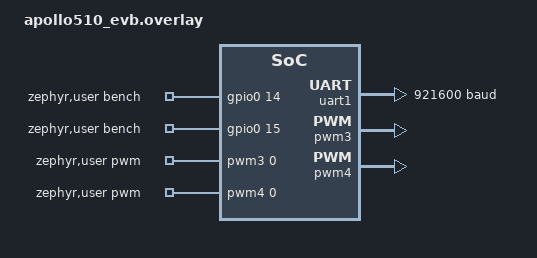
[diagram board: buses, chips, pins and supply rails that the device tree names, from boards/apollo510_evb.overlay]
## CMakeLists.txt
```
# SPDX-License-Identifier: Apache-2.0
cmake_minimum_required(VERSION 3.20.0)
find_package(Zephyr REQUIRED HINTS $ENV{ZEPHYR_BASE})
project(bench_e2e_cmd_vel)

target_sources(app PRIVATE
  src/main.c
  ../common/bench_clock.c
  ../common/bench_stats.c
)
target_sources_ifdef(CONFIG_BENCH_LOAD app PRIVATE ../common/bench_load.c)
target_include_directories(app PRIVATE ../common)
```

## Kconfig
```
# SPDX-License-Identifier: Apache-2.0
mainmenu "ARB benchmark: end-to-end cmd_vel latency"

config BENCH_SAMPLES
	int "Number of samples"
	default 100000

config BENCH_LOAD
	bool "Run with background load (zbus traffic + logging)"
	depends on ZBUS && LOG

config ARB_BENCH_E2E_ECHO
	bool "Host echo RTT mode (instead of the on-board path)"
	depends on SERIAL && UART_INTERRUPT_DRIVEN
	help
	  Send framed cmd_vel over the chosen arb,uart and measure the
	  round trip against benchmarks/scripts/e2e_echo.py running on the
	  host. Needs the hardware link; CI skips it via a twister fixture.

source "Kconfig.zephyr"
```

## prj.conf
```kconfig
# The ARB-coupled benchmark: measures the module's own command path.
CONFIG_ARB=y
CONFIG_TEST=y
CONFIG_TIMESLICING=n
```

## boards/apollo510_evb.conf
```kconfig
CONFIG_TIMING_FUNCTIONS=y
CONFIG_PWM=y
CONFIG_PM=n
CONFIG_PM_DEVICE=n
CONFIG_PM_DEVICE_RUNTIME=n
CONFIG_HW_STACK_PROTECTION=n
```

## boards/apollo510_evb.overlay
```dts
/*
 * Mirrors the diff_drive sample wiring: PWM on TIMER3/TIMER4 (CT12/CT18),
 * the echo link on UART1, and two spare pins for scope cross-checks of
 * the measured interval (publish edge on P14, actuation edge on P15 -
 * verify they are free on your rig).
 *
 * SPDX-License-Identifier: Apache-2.0
 * Copyright (c) 2026 Ambiq Micro Inc. <www.ambiq.com>
 */

#include <zephyr/dt-bindings/pwm/pwm.h>

/ {
	chosen {
		arb,uart = &uart1;
	};

	zephyr,user {
		pwms = <&pwm3 0 PWM_HZ(20000) PWM_POLARITY_NORMAL>,
		       <&pwm4 0 PWM_HZ(20000) PWM_POLARITY_NORMAL>;
		bench-gpios = <&gpio0 14 GPIO_ACTIVE_HIGH>,
			      <&gpio0 15 GPIO_ACTIVE_HIGH>;
	};
};

&uart1 {
	status = "okay";
	current-speed = <921600>;
	pinctrl-0 = <&uart1_default>;
	pinctrl-names = "default";
};

&timer3 {
	pwm3: pwm {
		status = "okay";
		pinctrl-0 = <&pwm3_default>;
		pinctrl-names = "default";
	};
};

&timer4 {
	pwm4: pwm {
		status = "okay";
		pinctrl-0 = <&pwm4_default>;
		pinctrl-names = "default";
	};
};

&pinctrl {
	uart1_default: uart1_default {
		group1 {
			pinmux = <UART1TX_P41>;
		};
		group2 {
			pinmux = <UART1RX_P43>;
			input-enable;
		};
	};

	pwm3_default: pwm3_default {
		group1 {
			pinmux = <CT12_P12>;
		};
	};

	pwm4_default: pwm4_default {
		group1 {
			pinmux = <CT18_P18>;
		};
	};
};
```

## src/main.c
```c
/*
 * End-to-end cmd_vel latency benchmark (Robotics WG D3). ARB-dependent by
 * design - this one measures the ARB path itself.
 *
 * Mode A (default): on-board closed-loop command path,
 *
 *   zbus_chan_pub(arb_chan_cmd_vel) -> listener -> twist_to_wheels ->
 *   pwm_set_pulse_dt()
 *
 * zbus listeners run synchronously in the publisher's context, so the
 * cycle delta needs no handshake: c1 is captured right after the PWM
 * write, c0 right before the publish. When zephyr,user has bench-gpios,
 * the publish and the actuation each toggle a pin so the same interval
 * can be cross-checked with a scope.
 *
 * Mode B (CONFIG_ARB_BENCH_E2E_ECHO): host round trip over the frozen
 * framing. Drives the chosen arb,uart directly with the OS-free codec -
 * not through the transport, whose export path would re-publish the
 * byte-true echo and self-loop. Run benchmarks/scripts/e2e_echo.py on the
 * host; reported metric is RTT (halve for one-way until link timesync is
 * validated on hardware).
 *
 * SPDX-License-Identifier: Apache-2.0
 * Copyright (c) 2026 Ambiq Micro Inc. <www.ambiq.com>
 */
#include <zephyr/kernel.h>
#include <zephyr/sys/printk.h>
#include <zephyr/zbus/zbus.h>

#include "arb/control/diff_drive.h"
#include "arb/msg.h"
#include "arb/time.h"
#include "arb/topics.h"

#include "bench.h"

#define ZUSER DT_PATH(zephyr_user)

/* ---- actuation path (Mode A) --------------------------------------------- */

#if DT_NODE_HAS_PROP(ZUSER, pwms)
#include <zephyr/drivers/pwm.h>
#define HAVE_PWM 1
static const struct pwm_dt_spec motor_pwm[2] = {
	PWM_DT_SPEC_GET_BY_IDX(ZUSER, 0),
	PWM_DT_SPEC_GET_BY_IDX(ZUSER, 1),
};
#else
/* keep the data path honest on boards without the motor wiring */
static volatile uint32_t pwm_sink;
#endif

#if DT_NODE_HAS_PROP(ZUSER, bench_gpios)
#include <zephyr/drivers/gpio.h>
#define HAVE_BENCH_GPIO 1
static const struct gpio_dt_spec bench_gpio[2] = {
	GPIO_DT_SPEC_GET_BY_IDX(ZUSER, bench_gpios, 0),
	GPIO_DT_SPEC_GET_BY_IDX(ZUSER, bench_gpios, 1),
};
#endif

static const arb_diffdrive_t geom = {
	.wheel_base = 0.30f,
	.wheel_radius = 0.04f,
};

static volatile uint64_t c_actuated;

static void cmd_vel_cb(const struct zbus_channel *chan)
{
	const arb_twist_t *t = zbus_chan_const_msg(chan);
	float wl, wr;

	arb_diffdrive_twist_to_wheels(&geom, t->linear.x, t->angular.z,
				      &wl, &wr);
#ifdef HAVE_PWM
	uint32_t pulse =
		(uint32_t)(MIN(1.0f, (wl < 0 ? -wl : wl) / 25.0f) *
			   (float)motor_pwm[0].period);
	(void)pwm_set_pulse_dt(&motor_pwm[0], pulse);
#else
	pwm_sink = (uint32_t)(wl * 1000.0f) + (uint32_t)(wr * 1000.0f);
#endif
#ifdef HAVE_BENCH_GPIO
	gpio_pin_toggle_dt(&bench_gpio[1]);
#endif
	c_actuated = bench_clock_now();
}
ZBUS_LISTENER_DEFINE(bench_cmd_listener, cmd_vel_cb);
ZBUS_CHAN_ADD_OBS(arb_chan_cmd_vel, bench_cmd_listener, 3);

static struct bench_hist hist;

static int run_onboard(void)
{
	arb_twist_t t = { 0 };
	uint32_t seq = 0;

#ifdef HAVE_PWM
	if (!pwm_is_ready_dt(&motor_pwm[0]) || !pwm_is_ready_dt(&motor_pwm[1])) {
		printk("BENCH ERROR: pwm not ready\n");
		return -ENODEV;
	}
#endif
#ifdef HAVE_BENCH_GPIO
	for (int i = 0; i < 2; i++) {
		if (gpio_is_ready_dt(&bench_gpio[i])) {
			gpio_pin_configure_dt(&bench_gpio[i],
					      GPIO_OUTPUT_INACTIVE);
		}
	}
#endif

	bench_hist_reset(&hist);

	for (uint32_t i = 0; i < CONFIG_BENCH_SAMPLES; i++) {
		t.linear.x = ((i & 1) != 0) ? 0.25f : -0.25f;
		t.angular.z = 0.0f;
		arb_header_init(&t.header, ARB_MSG_TWIST, 0,
				arb_time_now_us(), seq++);

#ifdef HAVE_BENCH_GPIO
		gpio_pin_toggle_dt(&bench_gpio[0]);
#endif
		uint64_t c0 = bench_clock_now();

		if (zbus_chan_pub(&arb_chan_cmd_vel, &t, K_MSEC(10)) != 0) {
			continue;
		}
		bench_hist_add(&hist, bench_clock_ns(c_actuated - c0));

		if ((i % 100) == 99) {
			k_sleep(K_MSEC(1)); /* let background load breathe */
		}
	}

	bench_report("e2e_cmd_vel", BENCH_LOAD_NAME, &hist,
		     "\"metric\":\"onboard_cmd_to_pwm_ns\"");
	return 0;
}

/* ---- Mode B: host echo RTT ----------------------------------------------- */

#ifdef CONFIG_ARB_BENCH_E2E_ECHO

#include <zephyr/device.h>
#include <zephyr/drivers/uart.h>
#include <zephyr/sys/ring_buffer.h>

#include "arb/serial.h"

static const struct device *const echo_uart =
	DEVICE_DT_GET(DT_CHOSEN(arb_uart));

static arb_serial_t tx_codec, rx_codec;
RING_BUF_DECLARE(echo_ring, 256);
static K_SEM_DEFINE(echo_rx, 0, 1);
static volatile uint64_t c_echo;
static volatile uint32_t echo_seq;

static int echo_write(void *ctx, const uint8_t *buf, size_t len)
{
	ARG_UNUSED(ctx);
	for (size_t i = 0; i < len; i++) {
		uart_poll_out(echo_uart, buf[i]);
	}
	return 0;
}

static void echo_frame_cb(uint16_t topic, const void *payload, size_t len,
			  void *user)
{
	ARG_UNUSED(user);
	if (topic != ARB_TOPIC_CMD_VEL || len != sizeof(arb_twist_t)) {
		return;
	}
	const arb_twist_t *t = payload;

	c_echo = bench_clock_now();
	echo_seq = t->header.seq;
	k_sem_give(&echo_rx);
}

static void echo_isr(const struct device *dev, void *user_data)
{
	ARG_UNUSED(user_data);
	uint8_t buf[32];

	if (!uart_irq_update(dev)) {
		return;
	}
	while (uart_irq_rx_ready(dev)) {
		int n = uart_fifo_read(dev, buf, sizeof(buf));

		if (n <= 0) {
			break;
		}
		(void)ring_buf_put(&echo_ring, buf, n);
	}
	k_sem_give(&echo_rx);
}

static int run_echo(void)
{
	arb_twist_t t = { 0 };
	uint8_t buf[64];

	if (!device_is_ready(echo_uart)) {
		printk("BENCH ERROR: arb,uart not ready\n");
		return -ENODEV;
	}
	(void)arb_serial_init(&tx_codec, echo_write, NULL, NULL, NULL);
	(void)arb_serial_init(&rx_codec, NULL, NULL, echo_frame_cb, NULL);
	uart_irq_callback_user_data_set(echo_uart, echo_isr, NULL);
	uart_irq_rx_enable(echo_uart);

	bench_hist_reset(&hist);

	for (uint32_t i = 0; i < CONFIG_BENCH_SAMPLES; i++) {
		t.linear.x = 0.25f;
		arb_header_init(&t.header, ARB_MSG_TWIST, 0,
				arb_time_now_us(), i);

		uint64_t c0 = bench_clock_now();

		(void)arb_serial_send(&tx_codec, ARB_TOPIC_CMD_VEL, &t,
				      sizeof(t));

		/* drain + decode until our seq echoes back (100 ms budget) */
		int64_t deadline = k_uptime_get() + 100;
		bool got = false;

		while (k_uptime_get() < deadline) {
			uint32_t n = ring_buf_get(&echo_ring, buf, sizeof(buf));

			if (n > 0) {
				arb_serial_rx(&rx_codec, buf, n);
				if (echo_seq == i && c_echo >= c0) {
					got = true;
					break;
				}
				continue;
			}
			(void)k_sem_take(&echo_rx, K_MSEC(5));
		}
		if (got) {
			bench_hist_add(&hist, bench_clock_ns(c_echo - c0));
		}
	}

	bench_report("e2e_cmd_vel", "idle", &hist,
		     "\"metric\":\"host_rtt_ns\"");
	return 0;
}

#endif /* CONFIG_ARB_BENCH_E2E_ECHO */

int main(void)
{
	bench_clock_init();
	bench_load_start();

#ifdef CONFIG_ARB_BENCH_E2E_ECHO
	if (run_echo() != 0) {
		return -EIO;
	}
#else
	if (run_onboard() != 0) {
		return -EIO;
	}
#endif

	bench_finish();
	return 0;
}
```
